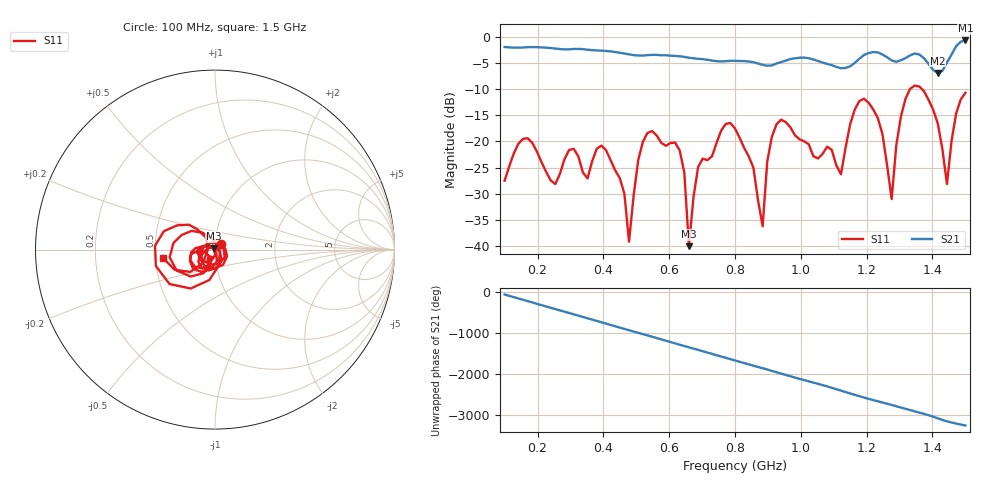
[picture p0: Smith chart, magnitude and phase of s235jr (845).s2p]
! NanoVNA-App
! Date: 2025-09-25 15:10:45
! Start: 100MHz Stop: 1,5GHz Points: 101
! S-Parameter data: F S11 S21 S12 S22
# Hz S RI R 50
!  Frequency  S11_Real  S11_Imag  S21_Real  S21_Imag  S12_Real  S12_Imag  S22_Real  S22_Imag
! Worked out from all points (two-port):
!   101 points, 100 MHz to 1.5 GHz, reference 50 ohm
!   highest |S21| = -0.71 dB at 1.5 GHz (marker M1); lowest = -6.9 dB at 1.416 GHz (marker M2)
!   |S21| within 3 dB of the highest: start of sweep to 627.6 MHz; 1.188 GHz to 1.257 GHz (69.05 MHz wide, 5.65 % of centre) (the widest 2 of 4)
!   lowest |S11| = -40.0 dB at 660 MHz (marker M3), VSWR 1.02, Z = 49.3 + j0.658 ohm
!   |S11| at or under -10 dB: start of sweep to 1.332 GHz; 1.368 GHz to end of sweep
!   S12 and S22 are empty: the file has one direction only
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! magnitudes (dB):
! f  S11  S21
! 100 MHz  -27.5  -2.0
! 170 MHz  -19.4  -2.0
! 338 MHz  -25.9  -2.4
! 408 MHz  -21.6  -2.7
! 478 MHz  -39.1  -3.4
! 520 MHz  -20.1  -3.6
! 576 MHz  -20.3  -3.5
! 632 MHz  -21.7  -3.7
! 660 MHz  -40.0  -4.0
! 688 MHz  -24.9  -4.2
! 800 MHz  -17.5  -4.6
! 884 MHz  -36.2  -5.4
! 926 MHz  -16.7  -5.1
! 1.038 GHz  -22.8  -4.3
! 1.122 GHz  -26.3  -6.0
! 1.192 GHz  -11.8  -3.5
! 1.248 GHz  -18.6  -3.4
! 1.276 GHz  -31.0  -4.5
! 1.332 GHz  -10.0  -3.6
! 1.416 GHz  -16.5  -6.9
! 1.444 GHz  -28.1  -4.9
! 1.5 GHz  -10.7  -0.7
